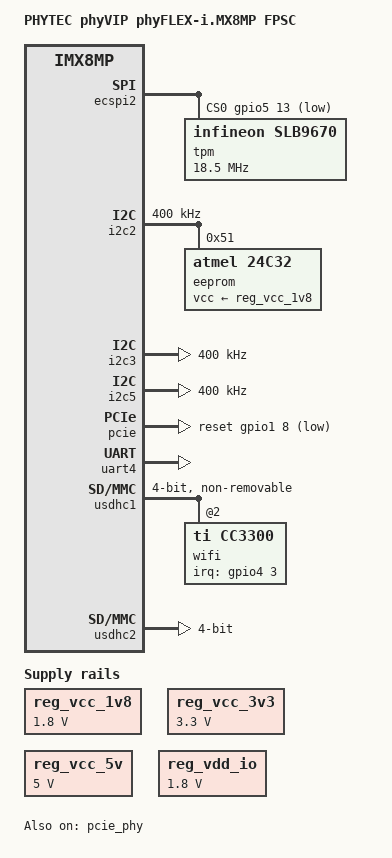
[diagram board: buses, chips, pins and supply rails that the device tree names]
// SPDX-License-Identifier: (GPL-2.0-or-later OR MIT)
/*
 * Copyright (C) 2026 PHYTEC Messtechnik GmbH
 */

/dts-v1/;

#include <dt-bindings/phy/phy-imx8-pcie.h>
#include "imx8mp-phyflex-fpsc-g-som.dtsi"

/ {
	compatible = "phytec,imx8mp-phyflex-phyvip",
		     "phytec,imx8mp-phyflex-fpsc-g", "fsl,imx8mp";
	model = "PHYTEC phyVIP phyFLEX-i.MX8MP FPSC";

	chosen {
		stdout-path = &uart4;
	};

	reg_vcc_1v8: regulator-vcc-1v8 {
		compatible = "regulator-fixed";
		regulator-always-on;
		regulator-boot-on;
		regulator-max-microvolt = <1800000>;
		regulator-min-microvolt = <1800000>;
		regulator-name = "VCC_1V8";
	};

	reg_vcc_3v3: regulator-vcc-3v3 {
		compatible = "regulator-fixed";
		regulator-always-on;
		regulator-boot-on;
		regulator-max-microvolt = <3300000>;
		regulator-min-microvolt = <3300000>;
		regulator-name = "VCC_3V3";
	};

	reg_vcc_5v: regulator-vcc-5v {
		compatible = "regulator-fixed";
		regulator-always-on;
		regulator-boot-on;
		regulator-max-microvolt = <5000000>;
		regulator-min-microvolt = <5000000>;
		regulator-name = "VCC_5V";
	};
};

/* TPM2.0 */
&ecspi2 {
	#address-cells = <1>;
	#size-cells = <0>;
	cs-gpios = <&gpio5 13 GPIO_ACTIVE_LOW>;
	status = "okay";

	tpm@0 {
		compatible = "infineon,slb9670", "tcg,tpm_tis-spi";
		reg = <0>;
		spi-max-frequency = <18500000>;
	};
};

/* CSI2 I2C */
&i2c2 {
	clock-frequency = <400000>;
	status = "okay";

	/* Factory EEPROM */
	eeprom@51 {
		compatible = "atmel,24c32";
		reg = <0x51>;
		pagesize = <32>;
		vcc-supply = <&reg_vcc_1v8>;
	};
};

/* CSI1 I2C */
&i2c3 {
	clock-frequency = <400000>;
	status = "okay";

	temp_sense1: temperature-sensor@48 {
		compatible = "ti,tmp102";
		reg = <0x48>;
		#thermal-sensor-cells = <1>;
		status = "disabled";
	};

	temp_sense2: temperature-sensor@49 {
		compatible = "ti,tmp102";
		reg = <0x49>;
		#thermal-sensor-cells = <1>;
		status = "disabled";
	};
};

/* Temperature Sensors */
&i2c5 {
	clock-frequency = <400000>;
	status = "okay";

	temp_sense3: temperature-sensor@48 {
		compatible = "ti,tmp102";
		reg = <0x48>;
		#thermal-sensor-cells = <1>;
		status = "disabled";
	};

	temp_sense4: temperature-sensor@49 {
		compatible = "ti,tmp102";
		reg = <0x49>;
		#thermal-sensor-cells = <1>;
		status = "disabled";
	};
};

/* PCIE (AI Accelerator) */
&pcie {
	reset-gpio = <&gpio1 8 GPIO_ACTIVE_LOW>;
	vpcie-supply = <&reg_vcc_3v3>;
	status = "okay";
};

&pcie_phy {
	clocks = <&hsio_blk_ctrl>;
	clock-names = "ref";
	fsl,clkreq-unsupported;
	fsl,refclk-pad-mode = <IMX8_PCIE_REFCLK_PAD_OUTPUT>;
	status = "okay";
};

/* VDD_IO voltage */
&reg_vdd_io {
	regulator-max-microvolt = <1800000>;
	regulator-min-microvolt = <1800000>;
};

/* Debug console */
&uart4 {
	status = "okay";
};

/* WiFi */
&usdhc1 {
	#address-cells = <1>;
	#size-cells = <0>;
	bus-width = <4>;
	keep-power-in-suspend;
	max-frequency = <50000000>;
	non-removable;
	status = "okay";

	wifi@2 {
		compatible = "ti,cc3300";
		reg = <2>;
		interrupt-parent = <&gpio4>;
		interrupts = <3 IRQ_TYPE_LEVEL_HIGH>;
	};
};

/* SD-Card */
&usdhc2 {
	assigned-clocks = <&clk IMX8MP_CLK_USDHC2>;
	assigned-clock-rates = <200000000>;
	bus-width = <4>;
	disable-wp;
	status = "okay";
};

&iomuxc {
	/* FPSC pinctrl_ecspi2 override; disable CS pull-up and drive-strengths */
	pinctrl_ecspi2: ecspi2grp {
		fsl,pins = <
			MX8MP_IOMUXC_ECSPI2_SCLK__ECSPI2_SCLK	0x84	/* SPI2_SCLK */
			MX8MP_IOMUXC_ECSPI2_MOSI__ECSPI2_MOSI	0x84	/* SPI2_MOSI */
			MX8MP_IOMUXC_ECSPI2_MISO__ECSPI2_MISO	0x84	/* SPI2_MISO */
			MX8MP_IOMUXC_ECSPI2_SS0__GPIO5_IO13	0x04	/* SPI2_CS */
		>;
	};

	/* FPSC pinctrl_usdhc1 override; reconfigure pins for WiFi */
	pinctrl_usdhc1: usdhc1grp {
		fsl,pins = <
			MX8MP_IOMUXC_SD1_CLK__USDHC1_CLK	0x182	/* SDIO_CLK */
			MX8MP_IOMUXC_SD1_CMD__USDHC1_CMD	0x1c2	/* SDIO_CMD */
			MX8MP_IOMUXC_SD1_DATA0__USDHC1_DATA0	0x1c2	/* SDIO_D0 */
			MX8MP_IOMUXC_SD1_DATA1__USDHC1_DATA1	0x1c2	/* SDIO_D1 */
			MX8MP_IOMUXC_SD1_DATA2__USDHC1_DATA2	0x1c2	/* SDIO_D2 */
			MX8MP_IOMUXC_SD1_DATA3__USDHC1_DATA3	0x1c2	/* SDIO_D3 */
		>;
	};

	/* FPSC pinctrl_usdhc2_100mhz override; adjust 100mhz drive-strengths  */
	pinctrl_usdhc2_100mhz: usdhc2-100mhzgrp {
		fsl,pins = <
			MX8MP_IOMUXC_SD2_CD_B__USDHC2_CD_B	0x40	/* SDCARD_CD */
			MX8MP_IOMUXC_SD2_WP__USDHC2_WP		0x40	/* SDCARD_WP */
			MX8MP_IOMUXC_SD2_CLK__USDHC2_CLK	0x192	/* SDCARD_CLK */
			MX8MP_IOMUXC_SD2_CMD__USDHC2_CMD	0x1d2	/* SDCARD_CMD */
			MX8MP_IOMUXC_SD2_DATA0__USDHC2_DATA0	0x1d2	/* SDCARD_DATA0 */
			MX8MP_IOMUXC_SD2_DATA1__USDHC2_DATA1	0x1d2	/* SDCARD_DATA1 */
			MX8MP_IOMUXC_SD2_DATA2__USDHC2_DATA2	0x1d2	/* SDCARD_DATA2 */
			MX8MP_IOMUXC_SD2_DATA3__USDHC2_DATA3	0x1d2	/* SDCARD_DATA3 */
			MX8MP_IOMUXC_GPIO1_IO04__USDHC2_VSELECT	0xc0
		>;
	};

	/* FPSC pinctrl_usdhc2_200mhz override; adjust 200mhz drive-strengths */
	pinctrl_usdhc2_200mhz: usdhc2-200mhzgrp {
		fsl,pins = <
			MX8MP_IOMUXC_SD2_CD_B__USDHC2_CD_B	0x40	/* SDCARD_CD */
			MX8MP_IOMUXC_SD2_WP__USDHC2_WP		0x40	/* SDCARD_WP */
			MX8MP_IOMUXC_SD2_CLK__USDHC2_CLK	0x192	/* SDCARD_CLK */
			MX8MP_IOMUXC_SD2_CMD__USDHC2_CMD	0x1d0	/* SDCARD_CMD */
			MX8MP_IOMUXC_SD2_DATA0__USDHC2_DATA0	0x1d2	/* SDCARD_DATA0 */
			MX8MP_IOMUXC_SD2_DATA1__USDHC2_DATA1	0x1d2	/* SDCARD_DATA1 */
			MX8MP_IOMUXC_SD2_DATA2__USDHC2_DATA2	0x1d2	/* SDCARD_DATA2 */
			MX8MP_IOMUXC_SD2_DATA3__USDHC2_DATA3	0x1d2	/* SDCARD_DATA3 */
			MX8MP_IOMUXC_GPIO1_IO04__USDHC2_VSELECT	0xc0
		>;
	};
};
